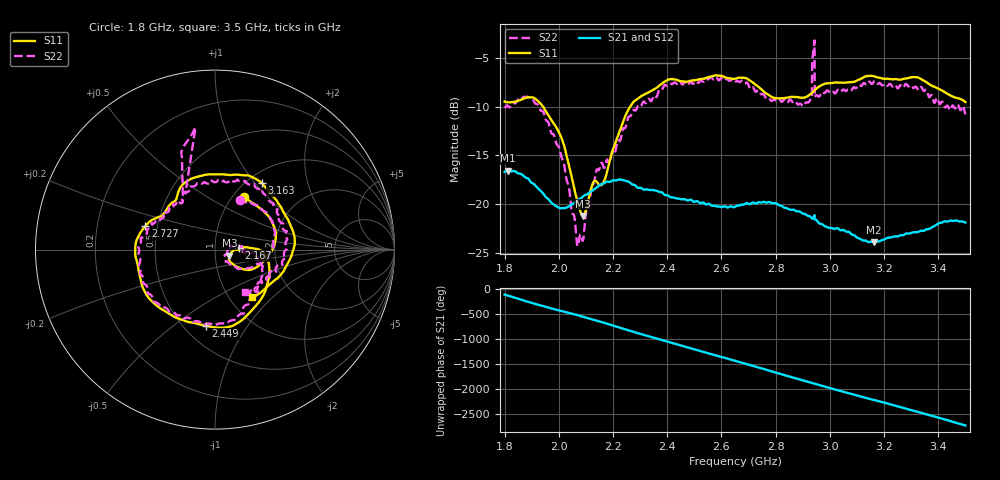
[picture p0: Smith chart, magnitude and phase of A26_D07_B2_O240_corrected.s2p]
! Created with skrf 1.9.0 (http://scikit-rf.org).
# Hz S RI R 50.0
!freq ReS11 ImS11 ReS21 ImS21 ReS12 ImS12 ReS22 ImS22
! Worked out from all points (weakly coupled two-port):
!   1601 points, 1.8 GHz to 3.5 GHz, reference 50 ohm
!   highest |S21| = -16.57 dB at 1.812 GHz (marker M1); lowest = -23.9 dB at 3.162 GHz (marker M2)
!   lowest |S11| = -21.2 dB at 2.089 GHz (marker M3), VSWR 1.19, Z = 58.6 - j4.02 ohm
!   |S11| at or under -10 dB: 1.942 GHz to 2.263 GHz (321.3 MHz wide, 15.3 % of centre)
!   |S22| runs from -24.3 to -3.2 dB; largest |S21 - S12| = 0.0028
!   S11 on the Smith chart (normalised r, x): 1.8 GHz: 1.13, +0.75; 2.167 GHz: 1.30, +0.03; 2.449 GHz: 0.64, -0.66; 2.727 GHz: 0.43, +0.13; 3.163 GHz: 1.16, +1.08; 3.5 GHz: 1.27, -0.75
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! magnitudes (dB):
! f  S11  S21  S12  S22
! 1.8 GHz  -9.5  -16.7  -16.7  -10.1
! 1.812 GHz  -9.5  -16.6  -16.6  -9.9
! 1.942 GHz  -10.0  -18.9  -18.9  -10.5
! 2.013 GHz  -13.4  -20.4  -20.4  -15.4
! 2.067 GHz  -19.5  -19.6  -19.6  -24.0
! 2.084 GHz  -21.0  -19.3  -19.3  -23.3
! 2.089 GHz  -21.2  -19.2  -19.2  -23.7
! 2.131 GHz  -17.6  -18.4  -18.4  -17.6
! 2.167 GHz  -17.6  -17.9  -17.8  -16.3
! 2.259 GHz  -10.2  -17.7  -17.7  -11.0
! 2.367 GHz  -7.9  -18.7  -18.7  -8.5
! 2.449 GHz  -7.4  -19.5  -19.5  -7.5
! 2.65 GHz  -7.1  -20.3  -20.2  -7.5
! 2.727 GHz  -7.8  -19.9  -19.9  -8.5
! 2.902 GHz  -9.1  -21.0  -21.0  -10.0
! 2.925 GHz  -8.8  -21.2  -21.2  -9.4
! 2.934 GHz  -8.6  -21.4  -21.4  -9.2
! 2.953 GHz  -8.1  -21.7  -21.7  -8.8
! 3.162 GHz  -6.9  -23.9  -23.8  -7.4
! 3.163 GHz  -6.9  -23.9  -23.9  -7.4
! 3.217 GHz  -7.2  -23.4  -23.4  -7.7
! 3.5 GHz  -9.5  -21.9  -21.9  -10.8
